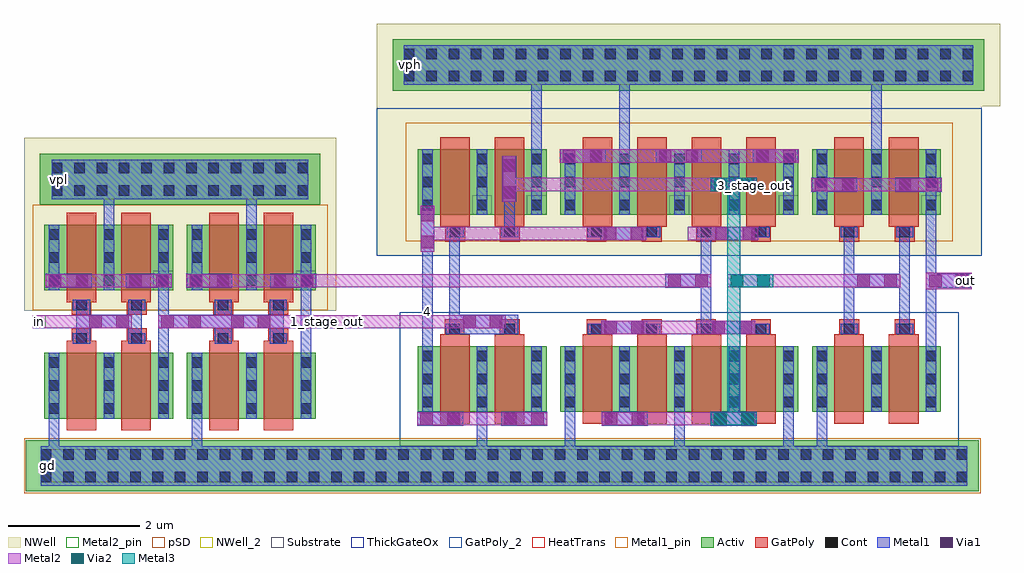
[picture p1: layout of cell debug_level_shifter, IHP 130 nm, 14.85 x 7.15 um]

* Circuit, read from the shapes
.subckt debug_level_shifter 1_stage_out 3_stage_out 4 gd in out vph vpl
XM1 n1 in gd gd sg13_lv_nmos w=1u l=0.45u
XM2 1_stage_out in n1 gd sg13_lv_nmos w=1u l=0.45u
XM3 n2 1_stage_out gd gd sg13_lv_nmos w=1u l=0.45u
XM4 n3 1_stage_out n2 gd sg13_lv_nmos w=1u l=0.45u
XM5 gd 1_stage_out 4 gd sg13_hv_nmos w=1u l=0.45u m=2
XM6 3_stage_out n3 gd gd sg13_hv_nmos w=1u l=0.45u m=4
XM7 n4 3_stage_out gd gd sg13_hv_nmos w=1u l=0.45u
XM8 out 3_stage_out n4 gd sg13_hv_nmos w=1u l=0.45u
XM9 vpl in 1_stage_out vpl sg13_lv_pmos w=1u l=0.45u m=2
XM10 vpl 1_stage_out n3 vpl sg13_lv_pmos w=1u l=0.45u m=2
XM11 n5 1_stage_out 4 vph sg13_hv_pmos w=1u l=0.45u
XM12 vph 3_stage_out n5 vph sg13_hv_pmos w=1u l=0.45u
XM13 vph 4 n6 vph sg13_hv_pmos w=1u l=0.45u m=2
XM14 3_stage_out n3 n6 vph sg13_hv_pmos w=1u l=0.45u m=2
XM15 vph 3_stage_out out vph sg13_hv_pmos w=1u l=0.45u m=2
.ends

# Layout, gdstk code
from math import pi, radians
import gdstk
lib = gdstk.Library(unit=1e-6, precision=1e-09)
def R(c, l, rs):  # rectangles x0, y0, x1, y1
    for r in rs: c.add(gdstk.rectangle(r[:2], r[2:], *l))
def A(c, l, x, y, w, h, nx, ny, dx, dy):  # array of equal rectangles
    R(c, l, [(x+i*dx, y+j*dy, x+i*dx+w, y+j*dy+h) for i in range(nx) for j in range(ny)])
Activ = (1, 0)
GatPoly = (5, 0)
GatPoly_2 = (5, 2)
Cont = (6, 0)
Metal1 = (8, 0)
Metal1_pin = (8, 2)
Metal2 = (10, 0)
Metal2_pin = (10, 2)
pSD = (14, 0)
Via1 = (19, 0)
Via2 = (29, 0)
Metal3 = (30, 0)
NWell = (31, 0)
NWell_2 = (31, 2)
Substrate = (40, 0)
ThickGateOx = (44, 0)
HeatTrans = (51, 0)

nmos_3 = lib.new_cell('nmos$3')
R(nmos_3, Activ, [(0,0,0.3,0.3), (0,0,1.13,1), (0.83,0,1.13,0.3)])
R(nmos_3, GatPoly, [(0.34,-0.18,0.79,1.18)])
R(nmos_3, GatPoly_2, [(0.34,-0.18,0.79,1.18)])
A(nmos_3, Cont, 0.07, 0.07, 0.16, 0.16, 1, 3, 0, 0.35)
A(nmos_3, Cont, 0.9, 0.07, 0.16, 0.16, 1, 3, 0, 0.35)
R(nmos_3, Metal1, [(0.07,0,0.23,1), (0.9,0,1.06,1)])
R(nmos_3, Metal1_pin, [(0.07,0,0.23,1), (0.9,0,1.06,1)])
R(nmos_3, HeatTrans, [(0.34,-0.18,0.79,1.18)])
nmos_3.add(gdstk.Label('nmos', (0.565,0.5), layer=63, texttype=0))
nmos_3.add(gdstk.Label('nmos', (0.565,0.5), layer=51, texttype=0))

pmos_1 = lib.new_cell('pmos$1')
A(pmos_1, Activ, 0, 0, 0.3, 0.3, 3, 1, 0.83, 0)
R(pmos_1, Activ, [(0,0,1.96,1)])
R(pmos_1, GatPoly, [(0.34,-0.18,0.79,1.18), (0.34,-0.18,0.79,1.18), (1.17,-0.18,1.62,1.18)])
A(pmos_1, Cont, 0.07, 0.07, 0.16, 0.16, 3, 3, 0.83, 0.35)
R(pmos_1, Metal1, [(0.07,0,0.23,1), (0.07,0,0.23,1), (0.9,0,1.06,1), (0.9,0,1.06,1), (1.73,0,1.89,1)])
R(pmos_1, pSD, [(-0.18,-0.3,2.14,1.3)])
R(pmos_1, NWell, [(-0.31,-0.31,2.27,1.31)])
R(pmos_1, Substrate, [(1.66,0,1.96,0.3)])
R(pmos_1, HeatTrans, [(0.34,-0.18,0.79,1.18), (1.17,-0.18,1.62,1.18)])
pmos_1.add(gdstk.Label('pmos', (0.565,0.5), layer=63, texttype=0))
pmos_1.add(gdstk.Label('pmos', (0.565,0.5), layer=51, texttype=0))
pmos_1.add(gdstk.Label('pmos', (1.395,0.5), layer=51, texttype=0))

ntap1_6 = lib.new_cell('ntap1$6')
R(ntap1_6, Activ, [(0,0,4.27,0.78)])
A(ntap1_6, Cont, 0.185, 0.14, 0.16, 0.16, 12, 2, 0.34, 0.34)
R(ntap1_6, Metal1, [(0.185,0.09,4.085,0.69)])
R(ntap1_6, Metal1_pin, [(0.185,0.09,4.085,0.69), (0.185,0.14,4.085,0.64)])
R(ntap1_6, NWell, [(-0.24,-0.24,4.51,1.02), (0,0,4.27,0.78)])
R(ntap1_6, NWell_2, [(0,0,4.27,0.78)])
ntap1_6.add(gdstk.Label('well', (2.135,0.01), layer=63, texttype=0))
ntap1_6.add(gdstk.Label('well', (2.135,0.01), layer=31, texttype=0))

via_3_2 = lib.new_cell('Via$3$2')
R(via_3_2, Metal1, [(-0.35,-0.105,0.35,0.105)])
R(via_3_2, Metal2, [(-0.35,-0.1,0.35,0.1)])
R(via_3_2, Via1, [(-0.3,-0.095,-0.11,0.095), (0.11,-0.095,0.3,0.095)])

ptap1_10 = lib.new_cell('ptap1$10')
R(ptap1_10, Activ, [(0,0,4.69,0.78)])
A(ptap1_10, Cont, 0.225, 0.14, 0.16, 0.16, 13, 2, 0.34, 0.34)
R(ptap1_10, Metal1, [(0.225,0.09,4.465,0.69), (0.225,0.14,4.465,0.64)])
R(ptap1_10, Metal1_pin, [(0.225,0.14,4.465,0.64)])
R(ptap1_10, pSD, [(-0.03,-0.03,4.72,0.81)])
R(ptap1_10, Substrate, [(0,0,4.69,0.78)])
ptap1_10.add(gdstk.Label('sub!', (2.345,0.01), layer=63, texttype=0))
ptap1_10.add(gdstk.Label('sub!', (2.345,0.01), layer=40, texttype=0))

via_16 = lib.new_cell('Via$16')
R(via_16, GatPoly, [(-0.15,-0.15,0.15,0.15)])
R(via_16, Cont, [(-0.08,-0.08,0.08,0.08)])
R(via_16, Metal1, [(-0.13,-0.08,0.13,0.08)])

pmoshv_3 = lib.new_cell('pmosHV$3')
R(pmoshv_3, Activ, [(0,0,0.3,0.3), (0,0,1.13,1), (0.83,0,1.13,0.3)])
R(pmoshv_3, GatPoly, [(0.34,-0.18,0.79,1.18)])
R(pmoshv_3, GatPoly_2, [(0.34,-0.18,0.79,1.18)])
A(pmoshv_3, Cont, 0.07, 0.07, 0.16, 0.16, 1, 3, 0, 0.35)
A(pmoshv_3, Cont, 0.9, 0.07, 0.16, 0.16, 1, 3, 0, 0.35)
R(pmoshv_3, Metal1, [(0.07,0,0.23,1), (0.9,0,1.06,1)])
R(pmoshv_3, Metal1_pin, [(0.07,0,0.23,1), (0.9,0,1.06,1)])
R(pmoshv_3, pSD, [(-0.18,-0.4,1.31,1.4)])
R(pmoshv_3, NWell, [(-0.62,-0.62,1.75,1.62)])
R(pmoshv_3, Substrate, [(0.83,0,1.13,0.3)])
R(pmoshv_3, ThickGateOx, [(-0.62,-0.62,1.75,1.62)])
R(pmoshv_3, HeatTrans, [(0.34,-0.18,0.79,1.18)])
pmoshv_3.add(gdstk.Label('pmosHV', (0.565,0.5), layer=63, texttype=0))
pmoshv_3.add(gdstk.Label('pmos', (0.565,0.5), layer=51, texttype=0))

pmoshv_1 = lib.new_cell('pmosHV$1')
A(pmoshv_1, Activ, 0, 0, 0.3, 0.3, 3, 1, 0.83, 0)
R(pmoshv_1, Activ, [(0,0,1.96,1)])
R(pmoshv_1, GatPoly, [(0.34,-0.18,0.79,1.18), (1.17,-0.18,1.62,1.18)])
R(pmoshv_1, GatPoly_2, [(0.34,-0.18,0.79,1.18)])
A(pmoshv_1, Cont, 0.07, 0.07, 0.16, 0.16, 3, 3, 0.83, 0.35)
A(pmoshv_1, Metal1, 0.07, 0, 0.16, 1, 3, 1, 0.83, 0)
R(pmoshv_1, Metal1_pin, [(0.07,0,0.23,1), (0.9,0,1.06,1)])
R(pmoshv_1, pSD, [(-0.18,-0.4,2.14,1.4)])
R(pmoshv_1, NWell, [(-0.62,-0.62,2.58,1.62)])
R(pmoshv_1, Substrate, [(1.66,0,1.96,0.3)])
R(pmoshv_1, ThickGateOx, [(-0.62,-0.62,2.58,1.62)])
R(pmoshv_1, HeatTrans, [(0.34,-0.18,0.79,1.18), (1.17,-0.18,1.62,1.18)])
pmoshv_1.add(gdstk.Label('pmosHV', (0.565,0.5), layer=63, texttype=0))
pmoshv_1.add(gdstk.Label('pmos', (0.565,0.5), layer=51, texttype=0))
pmoshv_1.add(gdstk.Label('pmos', (1.395,0.5), layer=51, texttype=0))

nmoshv_1_1 = lib.new_cell('nmosHV$1$1')
A(nmoshv_1_1, Activ, 0, 0, 0.3, 0.3, 5, 1, 0.83, 0)
R(nmoshv_1_1, Activ, [(0,0,3.62,1)])
A(nmoshv_1_1, GatPoly, 0.34, -0.18, 0.45, 1.36, 4, 1, 0.83, 0)
R(nmoshv_1_1, GatPoly_2, [(0.34,-0.18,0.79,1.18)])
A(nmoshv_1_1, Cont, 0.07, 0.07, 0.16, 0.16, 5, 3, 0.83, 0.35)
A(nmoshv_1_1, Metal1, 0.07, 0, 0.16, 1, 5, 1, 0.83, 0)
R(nmoshv_1_1, Metal1_pin, [(0.07,0,0.23,1), (0.9,0,1.06,1)])
R(nmoshv_1_1, ThickGateOx, [(-0.27,-0.52,3.89,1.52)])
A(nmoshv_1_1, HeatTrans, 0.34, -0.18, 0.45, 1.36, 4, 1, 0.83, 0)
nmoshv_1_1.add(gdstk.Label('nmosHV', (0.565,0.5), layer=63, texttype=0))
nmoshv_1_1.add(gdstk.Label('nmosHV', (0.565,0.5), layer=51, texttype=0))
nmoshv_1_1.add(gdstk.Label('nmosHV', (1.395,0.5), layer=51, texttype=0))
nmoshv_1_1.add(gdstk.Label('nmosHV', (2.225,0.5), layer=51, texttype=0))
nmoshv_1_1.add(gdstk.Label('nmosHV', (3.055,0.5), layer=51, texttype=0))

ntap1_2 = lib.new_cell('ntap1$2')
R(ntap1_2, Activ, [(0,0,9,0.78)])
A(ntap1_2, Cont, 0.17, 0.14, 0.16, 0.16, 26, 2, 0.34, 0.34)
R(ntap1_2, Metal1, [(0.17,0.09,8.83,0.69)])
R(ntap1_2, Metal1_pin, [(0.17,0.09,8.83,0.69), (0.17,0.14,8.83,0.64)])
R(ntap1_2, NWell, [(-0.24,-0.24,9.24,1.02), (0,0,9,0.78)])
R(ntap1_2, NWell_2, [(0,0,9,0.78)])
ntap1_2.add(gdstk.Label('well', (4.5,0.01), layer=63, texttype=0))
ntap1_2.add(gdstk.Label('well', (4.5,0.01), layer=31, texttype=0))

nmoshv_4 = lib.new_cell('nmosHV$4')
A(nmoshv_4, Activ, 0, 0, 0.3, 0.3, 3, 1, 0.83, 0)
R(nmoshv_4, Activ, [(0,0,1.96,1)])
R(nmoshv_4, GatPoly, [(0.34,-0.18,0.79,1.18), (1.17,-0.18,1.62,1.18)])
R(nmoshv_4, GatPoly_2, [(0.34,-0.18,0.79,1.18)])
A(nmoshv_4, Cont, 0.07, 0.07, 0.16, 0.16, 3, 3, 0.83, 0.35)
A(nmoshv_4, Metal1, 0.07, 0, 0.16, 1, 3, 1, 0.83, 0)
R(nmoshv_4, Metal1_pin, [(0.07,0,0.23,1), (0.9,0,1.06,1)])
R(nmoshv_4, ThickGateOx, [(-0.27,-0.52,2.23,1.52)])
R(nmoshv_4, HeatTrans, [(0.34,-0.18,0.79,1.18), (1.17,-0.18,1.62,1.18)])
nmoshv_4.add(gdstk.Label('nmosHV', (0.565,0.5), layer=63, texttype=0))
nmoshv_4.add(gdstk.Label('nmosHV', (0.565,0.5), layer=51, texttype=0))
nmoshv_4.add(gdstk.Label('nmosHV', (1.395,0.5), layer=51, texttype=0))

ptap1_2_1 = lib.new_cell('ptap1$2$1')
R(ptap1_2_1, Activ, [(0,0,9,0.78)])
A(ptap1_2_1, Cont, 0.17, 0.14, 0.16, 0.16, 26, 2, 0.34, 0.34)
R(ptap1_2_1, Metal1, [(0.17,0.09,8.83,0.69), (0.17,0.14,8.83,0.64)])
R(ptap1_2_1, Metal1_pin, [(0.17,0.14,8.83,0.64)])
R(ptap1_2_1, pSD, [(-0.03,-0.03,9.03,0.81)])
R(ptap1_2_1, Substrate, [(0,0,9,0.78)])
ptap1_2_1.add(gdstk.Label('sub!', (4.5,0.01), layer=63, texttype=0))
ptap1_2_1.add(gdstk.Label('sub!', (4.5,0.01), layer=40, texttype=0))

via_2_1 = lib.new_cell('Via$2$1')
R(via_2_1, Metal1, [(-0.35,-0.105,0.35,0.105)])
R(via_2_1, Metal2, [(-0.35,-0.1,0.35,0.1)])
R(via_2_1, Via1, [(-0.3,-0.095,-0.11,0.095), (0.11,-0.095,0.3,0.095)])

via_7_3 = lib.new_cell('Via$7$3')
R(via_7_3, Metal2, [(-0.35,-0.1,0.35,0.1)])
R(via_7_3, Via2, [(-0.3,-0.095,-0.11,0.095), (0.11,-0.095,0.3,0.095)])
R(via_7_3, Metal3, [(-0.35,-0.1,0.35,0.1)])

nmoshv_2 = lib.new_cell('nmosHV$2')
R(nmoshv_2, Activ, [(0,0,0.3,0.3), (0,0,1.13,1), (0.83,0,1.13,0.3)])
R(nmoshv_2, GatPoly, [(0.34,-0.18,0.79,1.18)])
R(nmoshv_2, GatPoly_2, [(0.34,-0.18,0.79,1.18)])
A(nmoshv_2, Cont, 0.07, 0.07, 0.16, 0.16, 1, 3, 0, 0.35)
A(nmoshv_2, Cont, 0.9, 0.07, 0.16, 0.16, 1, 3, 0, 0.35)
R(nmoshv_2, Metal1, [(0.07,0,0.23,1), (0.9,0,1.06,1)])
R(nmoshv_2, Metal1_pin, [(0.07,0,0.23,1), (0.9,0,1.06,1)])
R(nmoshv_2, ThickGateOx, [(-0.27,-0.52,1.4,1.52)])
R(nmoshv_2, HeatTrans, [(0.34,-0.18,0.79,1.18)])
nmoshv_2.add(gdstk.Label('nmosHV', (0.565,0.5), layer=63, texttype=0))
nmoshv_2.add(gdstk.Label('nmosHV', (0.565,0.5), layer=51, texttype=0))

debug_level_shifter = lib.new_cell('debug_level_shifter')
R(debug_level_shifter, Metal1, [(28.05,21.705,29.38,22.305), (24.51,24.025,24.56,24.375), (25.14,24.025,25.35,24.375), (26.455,24.025,26.505,24.375), (26.665,24.025,26.715,24.375), (27.295,24.025,27.35,24.375), (26.295,24.095,26.675,24.305), (30.885,24.165,31.075,24.305), (33.85,25.435,34.03,25.645)])
R(debug_level_shifter, Metal1_pin, [(23.81,21.905,24.01,22.105), (23.98,26.265,24.18,26.465), (29.335,28.005,29.535,28.205)])
R(debug_level_shifter, Metal2, [(37.275,24.695,37.975,24.94)])
R(debug_level_shifter, Metal2_pin, [(23.685,24.1,23.885,24.3), (37.775,24.72,37.975,24.92)])
R(debug_level_shifter, NWell, [(28.925,25.205,38.13,28.735)])
debug_level_shifter.add(gdstk.FlexPath([(35.695,22.825),(35.695,22.305)], 0.16, ends="flush", simple_path=True, layer=8, datatype=0))  # Metal1
debug_level_shifter.add(gdstk.FlexPath([(36.525,26.825),(36.525,27.805)], 0.16, ends="flush", simple_path=True, layer=8, datatype=0))  # Metal1
debug_level_shifter.add(gdstk.FlexPath([(37.355,25.825),(37.355,23.825)], 0.16, ends="flush", simple_path=True, layer=8, datatype=0))  # Metal1
debug_level_shifter.add(gdstk.FlexPath([(35.715,26.28),(35.715,26.28)], 0.16, ends="flush", simple_path=True, layer=8, datatype=0))  # Metal1
debug_level_shifter.add(gdstk.FlexPath([(36.11,24.085),(36.11,24.82)], 0.16, ends="flush", simple_path=True, layer=8, datatype=0))  # Metal1
debug_level_shifter.add(gdstk.FlexPath([(36.955,24.085),(36.955,24.82)], 0.16, ends="flush", simple_path=True, layer=8, datatype=0))  # Metal1
debug_level_shifter.add(gdstk.FlexPath([(36.11,25.565),(36.11,24.82)], 0.16, ends="flush", simple_path=True, layer=8, datatype=0))  # Metal1
debug_level_shifter.add(gdstk.FlexPath([(36.955,25.565),(36.955,24.82)], 0.16, ends="flush", simple_path=True, layer=8, datatype=0))  # Metal1
debug_level_shifter.add(gdstk.FlexPath([(30.945,24.085),(30.105,24.085)], 0.16, ends="flush", simple_path=True, layer=8, datatype=0))  # Metal1
debug_level_shifter.add(gdstk.FlexPath([(30.105,25.565),(30.105,24.085)], 0.16, ends="flush", simple_path=True, layer=8, datatype=0))  # Metal1
debug_level_shifter.add(gdstk.FlexPath([(30.105,24.815),(30.105,24.815)], 0.16, ends="flush", simple_path=True, layer=8, datatype=0))  # Metal1
debug_level_shifter.add(gdstk.FlexPath([(29.695,25.825),(29.695,23.825)], 0.16, ends="flush", simple_path=True, layer=8, datatype=0))  # Metal1
debug_level_shifter.add(gdstk.FlexPath([(30.525,22.825),(30.525,21.945)], 0.16, ends="flush", simple_path=True, layer=8, datatype=0))  # Metal1
debug_level_shifter.add(gdstk.FlexPath([(31.355,26.825),(31.355,27.805)], 0.16, ends="flush", simple_path=True, layer=8, datatype=0))  # Metal1
debug_level_shifter.add(gdstk.FlexPath([(32.695,26.825),(32.695,27.805)], 0.16, ends="flush", simple_path=True, layer=8, datatype=0))  # Metal1
debug_level_shifter.add(gdstk.FlexPath([(30.945,25.565),(30.945,25.565)], 0.16, ends="flush", simple_path=True, layer=8, datatype=0))  # Metal1
debug_level_shifter.add(gdstk.FlexPath([(34.355,26.285),(34.355,26.285)], 0.16, ends="flush", simple_path=True, layer=8, datatype=0))  # Metal1
debug_level_shifter.add(gdstk.FlexPath([(33.93,25.57),(33.93,24.085)], 0.16, ends="flush", simple_path=True, layer=8, datatype=0))  # Metal1
debug_level_shifter.add(gdstk.FlexPath([(30.945,25.565),(30.945,26.285)], 0.16, ends="flush", simple_path=True, layer=8, datatype=0))  # Metal1
debug_level_shifter.add(gdstk.FlexPath([(32.265,24.085),(33.105,24.085)], 0.16, ends="flush", simple_path=True, layer=8, datatype=0))  # Metal1
debug_level_shifter.add(gdstk.FlexPath([(33.93,24.085),(34.77,24.085)], 0.16, ends="flush", simple_path=True, layer=8, datatype=0))  # Metal1
debug_level_shifter.add(gdstk.FlexPath([(29.715,22.72),(29.715,22.72)], 0.16, ends="flush", simple_path=True, layer=8, datatype=0))  # Metal1
debug_level_shifter.add(gdstk.FlexPath([(31.865,22.825),(31.865,21.945)], 0.16, ends="flush", simple_path=True, layer=8, datatype=0))  # Metal1
debug_level_shifter.add(gdstk.FlexPath([(33.525,22.825),(33.525,21.945)], 0.16, ends="flush", simple_path=True, layer=8, datatype=0))  # Metal1
debug_level_shifter.add(gdstk.FlexPath([(35.185,22.825),(35.185,21.945)], 0.16, ends="flush", simple_path=True, layer=8, datatype=0))  # Metal1
debug_level_shifter.add(gdstk.FlexPath([(26.215,24.82),(26.215,24.82)], 0.16, ends="flush", simple_path=True, layer=8, datatype=0))  # Metal1
debug_level_shifter.add(gdstk.FlexPath([(24.015,24.82),(24.015,24.82)], 0.16, ends="flush", simple_path=True, layer=8, datatype=0))  # Metal1
debug_level_shifter.add(gdstk.FlexPath([(24.015,22.725),(24.015,22.305)], 0.16, ends="flush", simple_path=True, layer=8, datatype=0))  # Metal1
debug_level_shifter.add(gdstk.FlexPath([(26.585,23.945),(26.585,24.455)], 0.16, ends="flush", simple_path=True, layer=8, datatype=0))  # Metal1
debug_level_shifter.add(gdstk.FlexPath([(27.425,23.945),(27.425,24.455)], 0.16, ends="flush", simple_path=True, layer=8, datatype=0))  # Metal1
debug_level_shifter.add(gdstk.FlexPath([(27.845,24.675),(27.845,23.725)], 0.16, ends="flush", simple_path=True, layer=8, datatype=0))  # Metal1
debug_level_shifter.add(gdstk.FlexPath([(26.185,22.725),(26.185,22.305)], 0.16, ends="flush", simple_path=True, layer=8, datatype=0))  # Metal1
debug_level_shifter.add(gdstk.FlexPath([(24.845,25.675),(24.845,26.065)], 0.16, ends="flush", simple_path=True, layer=8, datatype=0))  # Metal1
debug_level_shifter.add(gdstk.FlexPath([(27.015,25.675),(27.015,26.065)], 0.16, ends="flush", simple_path=True, layer=8, datatype=0))  # Metal1
debug_level_shifter.add(gdstk.FlexPath([(24.43,23.945),(24.43,24.455)], 0.16, ends="flush", simple_path=True, layer=8, datatype=0))  # Metal1
debug_level_shifter.add(gdstk.FlexPath([(25.27,23.945),(25.27,24.455)], 0.16, ends="flush", simple_path=True, layer=8, datatype=0))  # Metal1
debug_level_shifter.add(gdstk.FlexPath([(25.675,24.675),(25.675,23.725)], 0.16, ends="flush", simple_path=True, layer=8, datatype=0))  # Metal1
debug_level_shifter.add(gdstk.FlexPath([(36.14,26.28),(36.95,26.28)], 0.2, ends="flush", simple_path=True, layer=10, datatype=0))  # Metal2
debug_level_shifter.add(gdstk.FlexPath([(34.81,24.82),(36.885,24.82)], 0.2, ends="flush", simple_path=True, layer=10, datatype=0))  # Metal2
debug_level_shifter.add(gdstk.FlexPath([(37.275,24.82),(37.975,24.82)], 0.2, ends="flush", simple_path=True, layer=10, datatype=0))  # Metal2
debug_level_shifter.add(gdstk.FlexPath([(30.17,24.2),(28.925,24.2)], 0.2, ends="flush", simple_path=True, layer=10, datatype=0))  # Metal2
debug_level_shifter.add(gdstk.FlexPath([(32.435,25.54),(29.695,25.54)], 0.2, ends="flush", simple_path=True, layer=10, datatype=0))  # Metal2
debug_level_shifter.add(gdstk.FlexPath([(34.68,24.11),(32.335,24.11)], 0.2, ends="flush", simple_path=True, layer=10, datatype=0))  # Metal2
debug_level_shifter.add(gdstk.FlexPath([(30.14,22.72),(30.95,22.72)], 0.2, ends="flush", simple_path=True, layer=10, datatype=0))  # Metal2
debug_level_shifter.add(gdstk.FlexPath([(33.655,25.54),(34.125,25.54)], 0.2, ends="flush", simple_path=True, layer=10, datatype=0))  # Metal2
debug_level_shifter.add(gdstk.FlexPath([(34.355,26.285),(34.355,26.285)], 0.2, ends="flush", simple_path=True, layer=10, datatype=0))  # Metal2
debug_level_shifter.add(gdstk.FlexPath([(31.85,26.72),(35.345,26.72)], 0.2, ends="flush", simple_path=True, layer=10, datatype=0))  # Metal2
debug_level_shifter.add(gdstk.FlexPath([(34.56,26.285),(30.94,26.285)], 0.2, ends="flush", simple_path=True, layer=10, datatype=0))  # Metal2
debug_level_shifter.add(gdstk.FlexPath([(34.15,22.72),(32.695,22.72)], 0.2, ends="flush", simple_path=True, layer=10, datatype=0))  # Metal2
debug_level_shifter.add(gdstk.FlexPath([(28.695,24.205),(28.695,24.205)], 0.2, ends="flush", simple_path=True, layer=10, datatype=0))  # Metal2
debug_level_shifter.add(gdstk.FlexPath([(28.925,24.2),(28.42,24.2)], 0.2, ends="flush", simple_path=True, layer=10, datatype=0))  # Metal2
debug_level_shifter.add(gdstk.FlexPath([(26.64,24.82),(27.45,24.82)], 0.2, ends="flush", simple_path=True, layer=10, datatype=0))  # Metal2
debug_level_shifter.add(gdstk.FlexPath([(27.86,24.82),(28.42,24.82)], 0.2, ends="flush", simple_path=True, layer=10, datatype=0))  # Metal2
debug_level_shifter.add(gdstk.FlexPath([(24.44,24.82),(25.25,24.82)], 0.2, ends="flush", simple_path=True, layer=10, datatype=0))  # Metal2
debug_level_shifter.add(gdstk.FlexPath([(28.42,24.82),(33.93,24.82)], 0.2, ends="flush", simple_path=True, layer=10, datatype=0))  # Metal2
debug_level_shifter.add(gdstk.FlexPath([(30.17,24.2),(30.835,24.2)], 0.2, ends="flush", simple_path=True, layer=10, datatype=0))  # Metal2
debug_level_shifter.add(gdstk.FlexPath([(24.64,24.2),(23.685,24.2)], 0.2, ends="flush", simple_path=True, layer=10, datatype=0))  # Metal2
debug_level_shifter.add(gdstk.FlexPath([(26.15,24.2),(26.8,24.2)], 0.2, ends="flush", simple_path=True, layer=10, datatype=0))  # Metal2
debug_level_shifter.add(gdstk.FlexPath([(27.21,24.2),(28.42,24.2)], 0.2, ends="flush", simple_path=True, layer=10, datatype=0))  # Metal2
debug_level_shifter.add(gdstk.FlexPath([(34.355,24.82),(34.355,24.82)], 0.2, ends="flush", simple_path=True, layer=30, datatype=0))  # Metal3
debug_level_shifter.add(gdstk.FlexPath([(34.355,26.285),(34.355,22.72)], 0.2, ends="flush", simple_path=True, layer=30, datatype=0))  # Metal3
debug_level_shifter.add(gdstk.FlexPath([(26.585,24.495),(26.585,24.495)], 0.16, ends="flush", simple_path=True, layer=5, datatype=0))  # GatPoly
debug_level_shifter.add(gdstk.FlexPath([(24.43,24.495),(24.43,24.495)], 0.16, ends="flush", simple_path=True, layer=5, datatype=0))  # GatPoly
debug_level_shifter.add(gdstk.Reference(nmos_3, (23.865,22.725)))
debug_level_shifter.add(gdstk.Reference(nmos_3, (24.695,22.725)))
debug_level_shifter.add(gdstk.Reference(pmos_1, (26.035,24.675)))
debug_level_shifter.add(gdstk.Reference(nmos_3, (26.035,22.725)))
debug_level_shifter.add(gdstk.Reference(nmos_3, (26.865,22.725)))
debug_level_shifter.add(gdstk.Reference(ntap1_6, (23.795,25.975)))
debug_level_shifter.add(gdstk.Reference(via_3_2, (25.455,24.82)))
debug_level_shifter.add(gdstk.Reference(via_3_2, (24.235,24.82)))
debug_level_shifter.add(gdstk.Reference(pmos_1, (23.865,24.675)))
debug_level_shifter.add(gdstk.Reference(ptap1_10, (23.585,21.615)))
debug_level_shifter.add(gdstk.Reference(via_16, (26.585,23.945)))
debug_level_shifter.add(gdstk.Reference(via_16, (27.425,23.945)))
debug_level_shifter.add(gdstk.Reference(via_3_2, (27.005,24.2)))
debug_level_shifter.add(gdstk.Reference(via_16, (26.585,24.455)))
debug_level_shifter.add(gdstk.Reference(via_16, (27.425,24.455)))
debug_level_shifter.add(gdstk.Reference(via_3_2, (25.945,24.2)))
debug_level_shifter.add(gdstk.Reference(via_3_2, (27.655,24.82)))
debug_level_shifter.add(gdstk.Reference(via_3_2, (26.375,24.82)))
debug_level_shifter.add(gdstk.Reference(pmoshv_3, (29.545,25.825)))
debug_level_shifter.add(gdstk.Reference(pmoshv_3, (30.375,25.825)))
debug_level_shifter.add(gdstk.Reference(pmoshv_1, (31.715,25.825)))
debug_level_shifter.add(gdstk.Reference(nmoshv_1_1, (31.715,22.825)))
debug_level_shifter.add(gdstk.Reference(ntap1_2, (29.165,27.715)))
debug_level_shifter.add(gdstk.Reference(via_16, (25.27,24.455)))
debug_level_shifter.add(gdstk.Reference(via_16, (24.43,24.455)))
debug_level_shifter.add(gdstk.Reference(via_3_2, (24.845,24.2)))
debug_level_shifter.add(gdstk.Reference(via_16, (25.27,23.945)))
debug_level_shifter.add(gdstk.Reference(via_16, (24.43,23.945)))
debug_level_shifter.add(gdstk.Reference(via_16, (30.105,24.085)))
debug_level_shifter.add(gdstk.Reference(via_16, (30.945,24.085)))
debug_level_shifter.add(gdstk.Reference(nmoshv_4, (29.545,22.825)))
debug_level_shifter.add(gdstk.Reference(ptap1_2_1, (29.08,21.615)))
debug_level_shifter.add(gdstk.Reference(via_16, (30.115,25.565), rotation=pi))
debug_level_shifter.add(gdstk.Reference(via_16, (30.945,25.565)))
debug_level_shifter.add(gdstk.Reference(via_2_1, (30.535,24.2)))
debug_level_shifter.add(gdstk.Reference(via_16, (32.265,24.085)))
debug_level_shifter.add(gdstk.Reference(via_16, (33.105,24.085)))
debug_level_shifter.add(gdstk.Reference(via_16, (33.93,24.085), rotation=pi))
debug_level_shifter.add(gdstk.Reference(via_16, (34.77,24.085)))
debug_level_shifter.add(gdstk.Reference(via_16, (33.105,25.565)))
debug_level_shifter.add(gdstk.Reference(via_2_1, (29.695,25.615), rotation=pi/2))
debug_level_shifter.add(gdstk.Reference(via_2_1, (32.675,25.54)))
debug_level_shifter.add(gdstk.Reference(via_2_1, (32.055,26.72)))
debug_level_shifter.add(gdstk.Reference(via_2_1, (33.515,26.72)))
debug_level_shifter.add(gdstk.Reference(via_2_1, (34.995,26.72)))
debug_level_shifter.add(gdstk.Reference(via_2_1, (32.685,24.11)))
debug_level_shifter.add(gdstk.Reference(via_3_2, (29.885,22.72)))
debug_level_shifter.add(gdstk.Reference(via_2_1, (30.94,26.37), rotation=3*pi/2))
debug_level_shifter.add(gdstk.Reference(via_3_2, (31.165,22.72)))
debug_level_shifter.add(gdstk.Reference(via_2_1, (34.33,24.11)))
debug_level_shifter.add(gdstk.Reference(via_2_1, (32.695,22.72)))
debug_level_shifter.add(gdstk.Reference(via_2_1, (34.355,26.285)))
debug_level_shifter.add(gdstk.Reference(via_7_3, (34.355,26.285)))
debug_level_shifter.add(gdstk.Reference(via_2_1, (34.355,22.72)))
debug_level_shifter.add(gdstk.Reference(via_7_3, (34.355,22.72)))
debug_level_shifter.add(gdstk.Reference(via_16, (32.265,25.565)))
debug_level_shifter.add(gdstk.Reference(via_16, (33.93,25.565)))
debug_level_shifter.add(gdstk.Reference(via_16, (34.77,25.565)))
debug_level_shifter.add(gdstk.Reference(via_2_1, (34.38,25.54)))
debug_level_shifter.add(gdstk.Reference(via_3_2, (33.66,24.82)))
debug_level_shifter.add(gdstk.Reference(pmoshv_1, (35.545,25.825)))
debug_level_shifter.add(gdstk.Reference(pmoshv_1, (33.375,25.825)))
debug_level_shifter.add(gdstk.Reference(nmoshv_2, (35.545,22.825)))
debug_level_shifter.add(gdstk.Reference(nmoshv_2, (36.375,22.825)))
debug_level_shifter.add(gdstk.Reference(via_16, (36.11,24.085)))
debug_level_shifter.add(gdstk.Reference(via_16, (36.955,24.085)))
debug_level_shifter.add(gdstk.Reference(via_16, (36.11,25.565)))
debug_level_shifter.add(gdstk.Reference(via_16, (36.955,25.565)))
debug_level_shifter.add(gdstk.Reference(via_7_3, (34.605,24.82)))
debug_level_shifter.add(gdstk.Reference(via_3_2, (35.885,26.28)))
debug_level_shifter.add(gdstk.Reference(via_3_2, (37.165,26.28)))
debug_level_shifter.add(gdstk.Reference(via_3_2, (36.535,24.82)))
debug_level_shifter.add(gdstk.Reference(via_3_2, (37.625,24.82)))
debug_level_shifter.add(gdstk.Reference(ptap1_10, (25.625,21.615)))
debug_level_shifter.add(gdstk.Label('vph', (29.435,28.105), layer=8, texttype=25))
debug_level_shifter.add(gdstk.Label('4', (29.695,24.36), layer=8, texttype=25))
debug_level_shifter.add(gdstk.Label('vpl', (24.08,26.365), layer=8, texttype=25))
debug_level_shifter.add(gdstk.Label('gd', (23.91,22.005), layer=8, texttype=25))
debug_level_shifter.add(gdstk.Label('3_stage_out', (34.665,26.265), layer=10, texttype=25))
debug_level_shifter.add(gdstk.Label('out', (37.875,24.82), layer=10, texttype=25))
debug_level_shifter.add(gdstk.Label('in', (23.785,24.2), layer=10, texttype=25))
debug_level_shifter.add(gdstk.Label('1_stage_out', (28.17,24.2), layer=10, texttype=25))

lib.write_gds('debug_level_shifter.gds')
